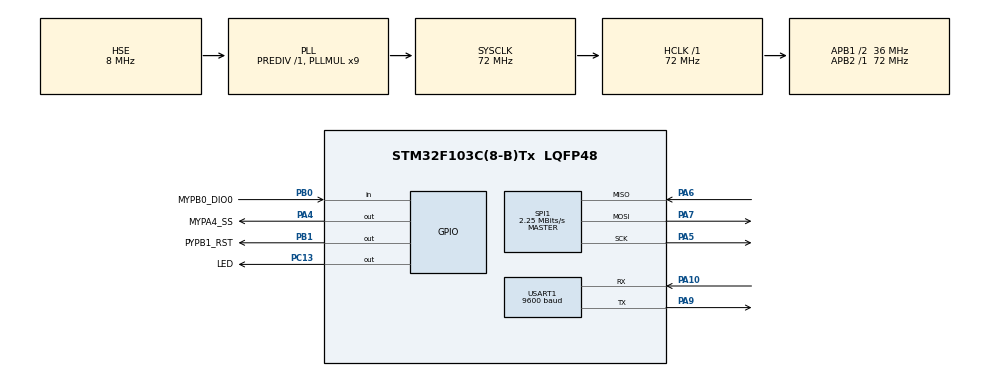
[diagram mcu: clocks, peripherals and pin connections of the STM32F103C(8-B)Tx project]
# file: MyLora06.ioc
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Mcu.Family=STM32F1
Mcu.Name=STM32F103C(8-B)Tx
Mcu.Package=LQFP48
NVIC.PriorityGroup=NVIC_PRIORITYGROUP_4
PA10.Mode=Asynchronous
PA10.Signal=USART1_RX
PA13.Mode=Serial_Wire
PA13.Signal=SYS_JTMS-SWDIO
PA14.Mode=Serial_Wire
PA14.Signal=SYS_JTCK-SWCLK
PA4.GPIO_Label=MYPA4_SS
PA4.GPIO_ModeDefaultOutputPP=GPIO_MODE_OUTPUT_PP
PA4.GPIO_Speed=GPIO_SPEED_FREQ_HIGH
PA4.PinState=GPIO_PIN_SET
PA4.Signal=GPIO_Output
PA5.Mode=Full_Duplex_Master
PA5.Signal=SPI1_SCK
PA6.Mode=Full_Duplex_Master
PA6.Signal=SPI1_MISO
PA7.Mode=Full_Duplex_Master
PA7.Signal=SPI1_MOSI
PA9.Mode=Asynchronous
PA9.Signal=USART1_TX
PB0.GPIO_Label=MYPB0_DIO0
PB0.GPIO_PuPd=GPIO_NOPULL
PB0.Signal=GPIO_Input
PB1.GPIO_Label=PYPB1_RST
PB1.GPIO_Speed=GPIO_SPEED_FREQ_HIGH
PB1.PinState=GPIO_PIN_SET
PB1.Signal=GPIO_Output
PC13-TAMPER-RTC.GPIO_Label=LED
PC13-TAMPER-RTC.GPIO_Speed=GPIO_SPEED_FREQ_LOW
PC13-TAMPER-RTC.PinState=GPIO_PIN_SET
PC13-TAMPER-RTC.Signal=GPIO_Output
PD0-OSC_IN.Mode=HSE-External-Oscillator
PD0-OSC_IN.Signal=RCC_OSC_IN
PD1-OSC_OUT.Mode=HSE-External-Oscillator
PD1-OSC_OUT.Signal=RCC_OSC_OUT
ProjectManager.HeapSize=0x200
ProjectManager.StackSize=0x400
ProjectManager.TargetToolchain=STM32CubeIDE
RCC.ADCPresc=RCC_ADCPCLK2_DIV8
RCC.AHBFreq_Value=72000000
RCC.APB1CLKDivider=RCC_HCLK_DIV2
RCC.APB1Freq_Value=36000000
RCC.APB1TimFreq_Value=72000000
RCC.APB2Freq_Value=72000000
RCC.APB2TimFreq_Value=72000000
RCC.EnbaleCSS=true
RCC.HCLKFreq_Value=72000000
RCC.PLLMUL=RCC_PLL_MUL9
RCC.PLLSourceVirtual=RCC_PLLSOURCE_HSE
RCC.SYSCLKFreq_VALUE=72000000
RCC.SYSCLKSource=RCC_SYSCLKSOURCE_PLLCLK
RCC.USBFreq_Value=72000000
SPI1.BaudRatePrescaler=SPI_BAUDRATEPRESCALER_32
SPI1.CalculateBaudRate=2.25 MBits/s
SPI1.Direction=SPI_DIRECTION_2LINES
SPI1.Mode=SPI_MODE_MASTER
SPI1.VirtualType=VM_MASTER
USART1.BaudRate=9600
USART1.VirtualMode=VM_ASYNC
board=custom

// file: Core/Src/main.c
/* USER CODE BEGIN Header */
/**
  ******************************************************************************
  * @file           : main.c
  * @brief          : Main program body
  ******************************************************************************
  * @attention
  *
  *
  *   QUESTA è come il Mylora06 ma ho semplificato tutti i giri di wrapper
  *   eliminando quei wrapper che non facevano nulla ma semplicemente chiamavano
  *   un altra funzione. (ho semplificato chiamando direttamente la funzione)
  *   Ho provato a far fare questo lavoro di riduzione alle AI ma alla fine
  *   lo ho dovuto ancora fare io a mano !!!!
  *   Questa riduzione facilita il debug e la comprensione, e mette in evidenza
  *   le cose che vengono fatte nella ral.
  *
  *
  *   Questi i file che ho copiato dalla LoRaMac-node-5.0.0-branch e che ho poi
  *   modificato ed adattato.
  *
  *    lr_fhss_v1_base_types.h
  *    ral_defs.h
  *    ral_sx127x.h
  *    ral_drv.h
  *    ral.h
  *    sx127x_regs_common_defs.h
  *    sx127x_regs_gfsk_defs.h
  *    sx127x_regs_lora_defs.h
  *    sx127x.h
  *    sx127x_hal.h
  *    ral_sx127x_bsp.h
  *    loramac_radio.h
  *    radio_board.h
  *    ral_sx127x.c
  *    sx127x.c
  *    loramac_radio.c
  *    ral_sx127x_bsp.c
  *    sx127x_hal.c
  *    radio_board.c
  *  ed ora tutti questi file sono nelle cartelle di questo progetto.
  *
  *
  *  Ed anche questo ha funzionato sia in lora che in fsk.
  *
  * This software is licensed under terms that can be found in the LICENSE file
  * in the root directory of this software component.
  * If no LICENSE file comes with this software, it is provided AS-IS.
  *
  ******************************************************************************
  */
/* USER CODE END Header */
#include "main.h"

/* USER CODE BEGIN Includes */
#include <stdbool.h>
#include <string.h>
#include <stdio.h>

#include "myvarie.h"

//REM AP #include "board.h"  queesto non la metto
//REM AP #include "../../mac/loramac_radio.h"
// ed ho dovuto aggiungere negli include path la cartella mac ed anche board.
// per i .c ho dovuto aggiungere nei "path and symbol" "source location"
// ed inoltre nei symbol ho dovuto mettere
#include "loramac_radio.h"

/* USER CODE END Includes */

SPI_HandleTypeDef hspi1;

UART_HandleTypeDef huart1;

/* USER CODE BEGIN PV */

// sarebbe il main scopiazzato dal ping-pong di esempio fornito da semtech
/*!
 * \brief Application states definition
 */
typedef enum app_states_e
{
    APP_STATE_LOW_POWER,
    APP_STATE_RX,
    APP_STATE_RX_TIMEOUT,
    APP_STATE_RX_ERROR,
    APP_STATE_TX,
    APP_STATE_TX_TIMEOUT,
} app_states_t;

/*!
 * \brief Application context definition
 */
typedef struct app_context_s
{
    app_states_t state;
    bool         is_master;
    uint16_t     buffer_size_in_bytes;
    uint8_t*     buffer;
} app_context_t;

#define  USE_MODEM_LORA
//#define  USE_MODEM_FSK

#define RX_TIMEOUT_VALUE                            1000

/*!
 * \brief RF frequency
 */

#define RF_FREQ_IN_HZ                               434000000

/*!
 * \brief RF transmission output power
 */
#define TX_RF_PWR_IN_DBM                            14

#if defined( USE_MODEM_LORA )

/*!
 * \brief LoRa modulation spreading factor
 */
#define LORA_SF                                     RAL_LORA_SF7

/*!
 * \brief LoRa modulation bandwidth
 */
#define LORA_BW                                     RAL_LORA_BW_125_KHZ

/*!
 * \brief LoRa modulation coding rate
 */
#define LORA_CR                                     RAL_LORA_CR_4_5

/*!
 * \brief LoRa preamble length
 */
#define LORA_PREAMBLE_LEN_IN_SYMB                   8

/*!
 * \brief LoRa is packet length fixed or variable
 */
#define LORA_IS_PKT_LEN_FIXED                       false
// #define LORA_IS_PKT_LEN_FIXED                       true

/*!
 * \brief LoRa is packet crc on or off
 */
#define LORA_IS_CRC_ON                              true

/*!
 * \brief LoRa is IQ inversion on or off
 */
#define LORA_IS_INVERT_IQ_ON                        false

/*!
 * \brief LoRa rx synchronization timeout
 */
#define LORA_RX_SYNC_TIMEOUT_IN_SYMB                6

/*!
 * \brief LoRa tx timeout
 */
#define LORA_TX_TIMEOUT_IN_MS                       4000

#elif defined( USE_MODEM_FSK )

/*!
 * \brief GFSK bitrate
 */
//#define GFSK_BR_IN_BPS                              50000  non andava a 50K
//                                                    a 9600 cosi si sente nelle baofeng...
#define GFSK_BR_IN_BPS                                4800

/*!
 * \brief GFSK frequency deviation
 */
//#define GFSK_FDEV_IN_HZ                             25000
#define GFSK_FDEV_IN_HZ                             10000

/*!
 * \brief GFSK bandwidth double sided
 */
//#define GFSK_BW_DSB_IN_HZ                           100000
#define GFSK_BW_DSB_IN_HZ                           40000

/*!
 * \brief GFSK preable length
 */
#define GFSK_PREABLE_LEN_IN_BITS                    40

/*!
 * \brief GFSK sync word length
 */
#define GFSK_SYNC_WORD_LEN_IN_BITS                  24

/*!
 * \brief GFSK is packet length fixed or variable
 */
#define GFSK_IS_PKT_LEN_FIXED                       false

/*!
 * \brief GFSK is packet crc on or off
 */
#define GFSK_IS_CRC_ON                              true

/*!
 * \brief GFSK rx synchronization timeout
 */
#define GFSK_RX_SYNC_TIMEOUT_IN_SYMB                6

/*!
 * \brief GFSK tx timeout
 */
#define GFSK_TX_TIMEOUT_IN_MS                       4000

#else
#error "Please select a modem under compiler options."
#endif

/*!
 * \brief Maximum application data buffer size
 *
 * \remark Please do not change this value
 */
#define PING_PONG_APP_DATA_MAX_SIZE                 255

/*!
 * \brief Application payload length
 *
 * \remark Please change this value in order to test different payload lengths
 */
#define APP_PLD_LEN_IN_BYTES                        16

// clang-format on

/*!
 * \brief Ping message string
 */
const uint8_t app_ping_msg[] = "PING";

/*!
 * \brief Pong message string
 */
const uint8_t app_pong_msg[] = "PONG";

/*!
 * \brief Application data buffer
 */
static uint8_t app_data_buffer[PING_PONG_APP_DATA_MAX_SIZE];

/*!
 * \brief Application context
 */
static app_context_t app_context = {
    .state                = APP_STATE_LOW_POWER,

	//.is_master            = true,
	.is_master            = false,

    .buffer_size_in_bytes = APP_PLD_LEN_IN_BYTES,
    .buffer               = app_data_buffer,
};

/*!
 * \brief Radio interrupt callbacks
 */
static loramac_radio_irq_t Myradio_irq_callbacks;

/*!
 * \brief Tx done interrupt callback
 */
static void irq_tx_done( void );

/*!
 * \brief Rx done interrupt callback
 *
 * \param [out] params  Pointer to the received parameters
 */
static void irq_rx_done( loramac_radio_irq_rx_done_params_t* params );

/*!
 * \brief Rx error interrupt callback
 */
static void irq_rx_error( void );

/*!
 * \brief Tx timeout interrupt callback
 */
static void irq_tx_timeout( void );

/*!
 * \brief Rx timeout interrupt callback
 */
static void irq_rx_timeout( void );

/*!
 * \brief Print the provided buffer in HEX
 *
 * \param [in] buffer Buffer to be printed
 * \param [in] size   Buffer size to be printed
 */
static void print_hex_buffer( uint8_t* buffer, uint8_t size );

/*!
 * \brief Build message to be transmitted
 *
 * \param [in]  is_ping_msg   Indicate if it is a PING or PONG message
 * \param [out] buffer        Buffer to be filled
 * \param [in]  size_in_bytes Buffer size to be filled
 */
static void app_build_message( bool is_ping_msg, uint8_t* buffer, uint8_t size_in_bytes );

static void irq_tx_done( void )
{
	printf("irq_tx_done\n");
    loramac_radio_set_sleep( );
    app_context.state = APP_STATE_TX;
}

static void irq_rx_done( loramac_radio_irq_rx_done_params_t* params )
{
	printf("irq_rx_done\n");
    loramac_radio_set_sleep( );

    // cazzata quin non controlla la lunghezza e potrebbe sovrascrivere mem...

    memcpy( app_context.buffer, params->buffer, params->size_in_bytes );

    app_context.buffer_size_in_bytes = params->size_in_bytes;

//REM AP
/*---
#if defined( USE_MODEM_LORA )
    printf( "[IRQ] rx done rssi: %4d dBm, snr: %4d dB\n", params->rssi_in_dbm, params->snr_in_db );
#elif defined( USE_MODEM_FSK )
    printf( "[IRQ] rx done rssi: %4d dBm\n", params->rssi_in_dbm );
#endif
--- */

    if( app_context.buffer[1] == 'I' )
    {
        //REM AP printf( "P I N G " );
        print_hex_buffer( app_context.buffer + 4, params->size_in_bytes );
    }
    else if( app_context.buffer[1] == 'O' )
    {
    	//REM AP printf( "P O N G " );
        print_hex_buffer( app_context.buffer + 4, params->size_in_bytes );
    }
    else
    {
        print_hex_buffer( app_context.buffer, params->size_in_bytes );
    }
    app_context.state = APP_STATE_RX;
}

static void irq_rx_error( void )
{
	printf("irq_rx_error\n");
    loramac_radio_set_sleep( );
    app_context.state = APP_STATE_RX_ERROR;
}

static void irq_tx_timeout( void )
{
	printf("irq_tx_timeout\n");
    loramac_radio_set_sleep( );
    app_context.state = APP_STATE_TX_TIMEOUT;
}

static void irq_rx_timeout( void )
{
	printf("irq_rx_timeout\n");
    loramac_radio_set_sleep( );
    app_context.state = APP_STATE_RX_TIMEOUT;
}

static void print_hex_buffer( uint8_t* buffer, uint8_t size )
{
	//REM AP per ora no !
	return;

    uint8_t newline = 0;

    for( uint8_t i = 0; i < size; i++ )
    {
        if( newline != 0 )
        {
        	//REM AP printf( "\n" );
            newline = 0;
        }
        //REM AP printf( "%02X ", buffer[i] );
        if( ( ( i + 1 ) % 16 ) == 0 )
        {
            newline = 1;
        }
    }
    //REM AP printf( "\n" );
}

static void app_build_message( bool is_ping_msg, uint8_t* buffer, uint8_t size_in_bytes )
{
    uint8_t app_msg_size;

    if( is_ping_msg == true )
    {
        app_msg_size = sizeof( app_ping_msg );
        memcpy( buffer, app_ping_msg, app_msg_size );
    }
    else
    {
        app_msg_size = sizeof( app_pong_msg );
        memcpy( buffer, app_pong_msg, app_msg_size );
    }
    // Fill remaining buffer bytes
    for( uint8_t i = app_msg_size; i < size_in_bytes; i++ )
    {
        buffer[i] = i - app_msg_size;
    }
}

/* USER CODE END PV */

void SystemClock_Config(void);
static void MX_GPIO_Init(void);
static void MX_SPI1_Init(void);
static void MX_USART1_UART_Init(void);

int main(void)
{

  /* MCU Configuration--------------------------------------------------------*/

  /* Reset of all peripherals, Initializes the Flash interface and the Systick. */
  HAL_Init();

  /* Configure the system clock */
  SystemClock_Config();

  /* Initialize all configured peripherals */
  MX_GPIO_Init();
  MX_SPI1_Init();
  MX_USART1_UART_Init();
  /* USER CODE BEGIN 2 */

  // Target board initialization
  //REM AP BoardInitMcu( );
  //REM AP BoardInitPeriph( );

  printf( "MyPrintf\n" );  // vedi in myvarie la gestione...
  MyClearReportRegModified();

  // Radio initialization
  Myradio_irq_callbacks.loramac_radio_irq_tx_done    = irq_tx_done;
  Myradio_irq_callbacks.loramac_radio_irq_rx_done    = irq_rx_done;
  Myradio_irq_callbacks.loramac_radio_irq_rx_error   = irq_rx_error;
  Myradio_irq_callbacks.loramac_radio_irq_tx_timeout = irq_tx_timeout;
  Myradio_irq_callbacks.loramac_radio_irq_rx_timeout = irq_rx_timeout;

  printf( "radio_init\n" );
  loramac_radio_init( &Myradio_irq_callbacks );

#if defined( USE_MODEM_LORA )
  loramac_radio_lora_cfg_params_t lora_params = {
      .rf_freq_in_hz           = RF_FREQ_IN_HZ,
      .tx_rf_pwr_in_dbm        = TX_RF_PWR_IN_DBM,
      .sf                      = LORA_SF,
      .bw                      = LORA_BW,
      .cr                      = LORA_CR,
      .preamble_len_in_symb    = LORA_PREAMBLE_LEN_IN_SYMB,
      .is_pkt_len_fixed        = LORA_IS_PKT_LEN_FIXED,
      .pld_len_in_bytes        = APP_PLD_LEN_IN_BYTES,
      .is_crc_on               = LORA_IS_CRC_ON,
      .invert_iq_is_on         = LORA_IS_INVERT_IQ_ON,
      .rx_sync_timeout_in_symb = LORA_RX_SYNC_TIMEOUT_IN_SYMB,
      .is_rx_continuous        = true,
      .tx_timeout_in_ms        = LORA_TX_TIMEOUT_IN_MS,
  };
  printf( "radio_lora_set_cfg\n" );
  loramac_radio_lora_set_cfg( &lora_params );
#elif defined( USE_MODEM_FSK )
  loramac_radio_gfsk_cfg_params_t gfsk_params = {
      .rf_freq_in_hz           = RF_FREQ_IN_HZ,
      .tx_rf_pwr_in_dbm        = TX_RF_PWR_IN_DBM,
      .br_in_bps               = GFSK_BR_IN_BPS,
      .fdev_in_hz              = GFSK_FDEV_IN_HZ,
      .bw_dsb_in_hz            = GFSK_BW_DSB_IN_HZ,
      .preamble_len_in_bits    = GFSK_PREABLE_LEN_IN_BITS,
      .sync_word_len_in_bits   = GFSK_SYNC_WORD_LEN_IN_BITS,
      .is_pkt_len_fixed        = GFSK_IS_PKT_LEN_FIXED,
      .pld_len_in_bytes        = APP_PLD_LEN_IN_BYTES,
      .is_crc_on               = GFSK_IS_CRC_ON,
      .rx_sync_timeout_in_symb = GFSK_RX_SYNC_TIMEOUT_IN_SYMB,
      .is_rx_continuous        = true,
      .tx_timeout_in_ms        = GFSK_TX_TIMEOUT_IN_MS,
  };
  printf( "radio_gfsk_set_cfg\n" );
  loramac_radio_gfsk_set_cfg( &gfsk_params );
#endif

// vediamo qui i registri modificati durante diciamo il setup...
//MyReportRegModified();
//MyClearReportRegModified();  // pulisco...

//REM AP loramac_radio_set_rx( RAL_RX_TIMEOUT_CONTINUOUS_MODE );
  printf( "radio_set_rx\n" );
  loramac_radio_set_rx( RX_TIMEOUT_VALUE );

// rivediamo qui i registri modificati per attivare RX...
MyReportRegModified();
MyClearReportRegModified();  // pulisco...
DisableMyPrint();
//REM AP EnableMyPrint(); al bisogno per debug.

  /* USER CODE END 2 */

  /* Infinite loop */
  /* USER CODE BEGIN WHILE */
  while (1)
  {
	  // la mia gestione del timeout ! e del irq sul D0
	  // e qui simulo gli irq sul DIO0  ma servirebbero pure gli altri 2 mi sa...
	  if ( IsMyDIO0_ON() )
	  {
		  MyOnDio0Irq();
	  }
	  else MyUpdTimer();

	  loramac_radio_irq_process( );

	  switch( app_context.state )
      {
      case APP_STATE_RX:
          if( app_context.is_master == true )
          {
              if( app_context.buffer_size_in_bytes > 0 )
              {
                  if( strncmp( ( const char* ) app_context.buffer, ( const char* ) app_pong_msg, 4 ) == 0 )
                  {
                	  //REM AP printf( "[APP] pong message received\n" );
                      // Send the next PING frame
                      app_build_message( true, app_context.buffer, app_context.buffer_size_in_bytes );
                      DelayMs( 1 );
                      //REM AP printf( "[APP] ping message transmission\n" );
                      printf( "radio_trasmit ping\n" );
                      loramac_radio_transmit( app_context.buffer, app_context.buffer_size_in_bytes );
                  }
                  else if( strncmp( ( const char* ) app_context.buffer, ( const char* ) app_ping_msg, 4 ) == 0 )
                  {  // A master already exists then become a slave
                      app_context.is_master = true;
                      //REM AP printf( "[APP] ping-pong slave mode\n" );

                      //REM AP loramac_radio_set_rx( RAL_RX_TIMEOUT_CONTINUOUS_MODE );
                      printf( "radio_set_rx\n" );
                      loramac_radio_set_rx( RX_TIMEOUT_VALUE );
                  }
                  else  // valid reception but neither a PING or a PONG message
                  {     // Set device as master ans start again
                      app_context.is_master = true;

                      //REM AP printf( "[APP] ping-pong master mode\n" );

                      //REM AP loramac_radio_set_rx( RAL_RX_TIMEOUT_CONTINUOUS_MODE );
                      printf( "radio_set_rx\n" );
                      loramac_radio_set_rx( RX_TIMEOUT_VALUE );

                  }
              }
          }
          else
          {
              if( app_context.buffer_size_in_bytes > 0 )
              {
                  if( strncmp( ( const char* ) app_context.buffer, ( const char* ) app_ping_msg, 4 ) == 0 )
                  {
                	  //REM AP printf( "[APP] ping message received\n" );
                      // Send the reply to the PONG string
                      app_build_message( false, app_context.buffer, app_context.buffer_size_in_bytes );
                      DelayMs( 1 );
                      //REM AP printf( "[APP] pong message transmission\n" );

                      printf( "\nradio_trasmit pong\n" );
                      loramac_radio_transmit( app_context.buffer, app_context.buffer_size_in_bytes );

                  }
                  else  // valid reception but not a PING as expected
                  {     // Set device as master and start again
                	  //REM AP app_context.is_master = true;
                      //REM AP printf( "[APP] ping-pong master mode\n" );

                      //REM AP loramac_radio_set_rx( RAL_RX_TIMEOUT_CONTINUOUS_MODE );
                	  printf( "radio_set_rx\n" );
                      loramac_radio_set_rx( RX_TIMEOUT_VALUE );

                  }
              }
          }
          app_context.state = APP_STATE_LOW_POWER;
          break;
      case APP_STATE_TX:

          //REM AP loramac_radio_set_rx( RAL_RX_TIMEOUT_CONTINUOUS_MODE );
    	  printf( "radio_set_rx\n" );
          loramac_radio_set_rx( RX_TIMEOUT_VALUE );

          //REM AP if( app_context.is_master == true )
          //REM AP {
        	         //REM AP printf( "[APP] ping message transmitted\n" );
          //REM AP }
          //REM AP else
          //REM AP {
        	        //REM AP printf( "[APP] pong message transmitted\n" );
          //REM AP }
          app_context.state = APP_STATE_LOW_POWER;
          break;
      case APP_STATE_RX_TIMEOUT:
      case APP_STATE_RX_ERROR:
          if( app_context.is_master == true )
          {
              // Send the next PING frame
              app_build_message( true, app_context.buffer, app_context.buffer_size_in_bytes );
              DelayMs( 1 );
              //REM AP printf( "[APP] ping message transmission\n" );

              printf( "radio_trasmit ping\n" );
              //MyReportRegModified();
              //MyClearReportRegModified();

              loramac_radio_transmit( app_context.buffer, app_context.buffer_size_in_bytes );
              //MyReportRegModified();
              //MyClearReportRegModified();

          }
          else
          {
              //REM AP loramac_radio_set_rx( RAL_RX_TIMEOUT_CONTINUOUS_MODE );
        	  printf( "radio_set_rx\n" );
              loramac_radio_set_rx( RX_TIMEOUT_VALUE );

          }
          app_context.state = APP_STATE_LOW_POWER;
          break;
      case APP_STATE_TX_TIMEOUT:

          //REM AP loramac_radio_set_rx( RAL_RX_TIMEOUT_CONTINUOUS_MODE );
    	  printf( "radio_set_rx\n" );
          loramac_radio_set_rx( RX_TIMEOUT_VALUE );

          app_context.state = APP_STATE_LOW_POWER;
          break;
      case APP_STATE_LOW_POWER:
      default:
          // Set low power
          break;
      }
      //REM AP BoardLowPowerHandler( );
      // Process Radio IRQ
      //REM AP provo a portarlo sopra loramac_radio_irq_process( );

    /* USER CODE END WHILE */

  }
}

void SystemClock_Config(void)
{
  RCC_OscInitTypeDef RCC_OscInitStruct = {0};
  RCC_ClkInitTypeDef RCC_ClkInitStruct = {0};

  /** Initializes the RCC Oscillators according to the specified parameters
  * in the RCC_OscInitTypeDef structure.
  */
  RCC_OscInitStruct.OscillatorType = RCC_OSCILLATORTYPE_HSE;
  RCC_OscInitStruct.HSEState = RCC_HSE_ON;
  RCC_OscInitStruct.HSEPredivValue = RCC_HSE_PREDIV_DIV1;
  RCC_OscInitStruct.HSIState = RCC_HSI_ON;
  RCC_OscInitStruct.PLL.PLLState = RCC_PLL_ON;
  RCC_OscInitStruct.PLL.PLLSource = RCC_PLLSOURCE_HSE;
  RCC_OscInitStruct.PLL.PLLMUL = RCC_PLL_MUL9;
  if (HAL_RCC_OscConfig(&RCC_OscInitStruct) != HAL_OK)
  {
    Error_Handler();
  }

  /** Initializes the CPU, AHB and APB buses clocks
  */
  RCC_ClkInitStruct.ClockType = RCC_CLOCKTYPE_HCLK|RCC_CLOCKTYPE_SYSCLK
                              |RCC_CLOCKTYPE_PCLK1|RCC_CLOCKTYPE_PCLK2;
  RCC_ClkInitStruct.SYSCLKSource = RCC_SYSCLKSOURCE_PLLCLK;
  RCC_ClkInitStruct.AHBCLKDivider = RCC_SYSCLK_DIV1;
  RCC_ClkInitStruct.APB1CLKDivider = RCC_HCLK_DIV2;
  RCC_ClkInitStruct.APB2CLKDivider = RCC_HCLK_DIV1;

  if (HAL_RCC_ClockConfig(&RCC_ClkInitStruct, FLASH_LATENCY_2) != HAL_OK)
  {
    Error_Handler();
  }

  /** Enables the Clock Security System
  */
  HAL_RCC_EnableCSS();
}

static void MX_SPI1_Init(void)
{

  /* SPI1 parameter configuration*/
  hspi1.Instance = SPI1;
  hspi1.Init.Mode = SPI_MODE_MASTER;
  hspi1.Init.Direction = SPI_DIRECTION_2LINES;
  hspi1.Init.DataSize = SPI_DATASIZE_8BIT;
  hspi1.Init.CLKPolarity = SPI_POLARITY_LOW;
  hspi1.Init.CLKPhase = SPI_PHASE_1EDGE;
  hspi1.Init.NSS = SPI_NSS_SOFT;
  hspi1.Init.BaudRatePrescaler = SPI_BAUDRATEPRESCALER_32;
  hspi1.Init.FirstBit = SPI_FIRSTBIT_MSB;
  hspi1.Init.TIMode = SPI_TIMODE_DISABLE;
  hspi1.Init.CRCCalculation = SPI_CRCCALCULATION_DISABLE;
  hspi1.Init.CRCPolynomial = 10;
  if (HAL_SPI_Init(&hspi1) != HAL_OK)
  {
    Error_Handler();
  }

}

static void MX_USART1_UART_Init(void)
{

  huart1.Instance = USART1;
  huart1.Init.BaudRate = 9600;
  huart1.Init.WordLength = UART_WORDLENGTH_8B;
  huart1.Init.StopBits = UART_STOPBITS_1;
  huart1.Init.Parity = UART_PARITY_NONE;
  huart1.Init.Mode = UART_MODE_TX_RX;
  huart1.Init.HwFlowCtl = UART_HWCONTROL_NONE;
  huart1.Init.OverSampling = UART_OVERSAMPLING_16;
  if (HAL_UART_Init(&huart1) != HAL_OK)
  {
    Error_Handler();
  }

}

static void MX_GPIO_Init(void)
{
  GPIO_InitTypeDef GPIO_InitStruct = {0};

  /* GPIO Ports Clock Enable */
  __HAL_RCC_GPIOC_CLK_ENABLE();
  __HAL_RCC_GPIOD_CLK_ENABLE();
  __HAL_RCC_GPIOA_CLK_ENABLE();
  __HAL_RCC_GPIOB_CLK_ENABLE();

  /*Configure GPIO pin Output Level */
  HAL_GPIO_WritePin(LED_GPIO_Port, LED_Pin, GPIO_PIN_SET);

  /*Configure GPIO pin Output Level */
  HAL_GPIO_WritePin(MYPA4_SS_GPIO_Port, MYPA4_SS_Pin, GPIO_PIN_SET);

  /*Configure GPIO pin Output Level */
  HAL_GPIO_WritePin(PYPB1_RST_GPIO_Port, PYPB1_RST_Pin, GPIO_PIN_SET);

  /*Configure GPIO pin : LED_Pin */
  GPIO_InitStruct.Pin = LED_Pin;
  GPIO_InitStruct.Mode = GPIO_MODE_OUTPUT_PP;
  GPIO_InitStruct.Pull = GPIO_NOPULL;
  GPIO_InitStruct.Speed = GPIO_SPEED_FREQ_LOW;
  HAL_GPIO_Init(LED_GPIO_Port, &GPIO_InitStruct);

  /*Configure GPIO pin : MYPA4_SS_Pin */
  GPIO_InitStruct.Pin = MYPA4_SS_Pin;
  GPIO_InitStruct.Mode = GPIO_MODE_OUTPUT_PP;
  GPIO_InitStruct.Pull = GPIO_NOPULL;
  GPIO_InitStruct.Speed = GPIO_SPEED_FREQ_HIGH;
  HAL_GPIO_Init(MYPA4_SS_GPIO_Port, &GPIO_InitStruct);

  /*Configure GPIO pin : MYPB0_DIO0_Pin */
  GPIO_InitStruct.Pin = MYPB0_DIO0_Pin;
  GPIO_InitStruct.Mode = GPIO_MODE_INPUT;
  GPIO_InitStruct.Pull = GPIO_NOPULL;
  HAL_GPIO_Init(MYPB0_DIO0_GPIO_Port, &GPIO_InitStruct);

  /*Configure GPIO pin : PYPB1_RST_Pin */
  GPIO_InitStruct.Pin = PYPB1_RST_Pin;
  GPIO_InitStruct.Mode = GPIO_MODE_OUTPUT_PP;
  GPIO_InitStruct.Pull = GPIO_NOPULL;
  GPIO_InitStruct.Speed = GPIO_SPEED_FREQ_HIGH;
  HAL_GPIO_Init(PYPB1_RST_GPIO_Port, &GPIO_InitStruct);

}

void Error_Handler(void)
{
  __disable_irq();
  while (1)
  {
  }
}
